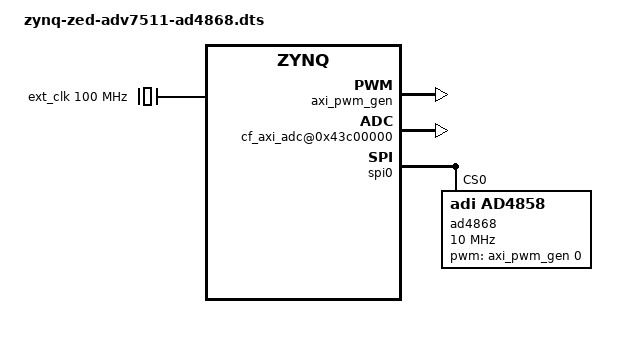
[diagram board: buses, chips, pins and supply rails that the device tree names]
// SPDX-License-Identifier: GPL-2.0
/dts-v1/;

#include "zynq-zed.dtsi"
#include "zynq-zed-adv7511.dtsi"
#include <dt-bindings/pwm/pwm.h>

/ {

	clocks {
		ext_clk: clock@0 {
			#clock-cells = <0>;
			compatible = "fixed-clock";
			clock-frequency = <100000000>;
		};
	};
};

&fpga_axi {
	rx_dma: dmac@43E00000 {
		compatible = "adi,axi-dmac-1.00.a";
		reg = <0x43E00000 0x1000>;
		#dma-cells = <1>;
		interrupt-parent = <&intc>;
		interrupts = <0 54 IRQ_TYPE_LEVEL_HIGH>;
		clocks = <&clkc 15>;

		adi,channels {
			#size-cells = <0>;
			#address-cells = <1>;

			dma-channel@0 {
				reg = <0>;
				adi,source-bus-width = <256>;
				adi,source-bus-type = <2>;
				adi,destination-bus-width = <64>;
				adi,destination-bus-type = <0>;
			};
		};
	};

	axi_pwm_gen: pwm@0x43d00000 {
		compatible = "adi,axi-pwmgen";
		reg = <0x43d00000 0x1000>;
		label = "cnv";
		#pwm-cells = <2>;
		clocks = <&ext_clk>;
	};

	cf_axi_adc@0x43c00000 {
		compatible = "adi,axi-adc-10.0.a";
		reg = <0x43c00000 0x10000>;
		dmas = <&rx_dma 0>;
		dma-names = "rx";
		spibus-connected = <&ad4868>;
	};
};

&spi0 {
	status = "okay";

	ad4868: adc@0{
		compatible = "adi,ad4858";
		reg = <0>;
		spi-max-frequency = <10000000>;
		clocks = <&ext_clk>;
		clock-names = "scki";
		dmas = <&rx_dma 0>;
		dma-names = "rx";
		pwms = <&axi_pwm_gen 0 0>;
		pwm-names = "cnv";
	};
};
